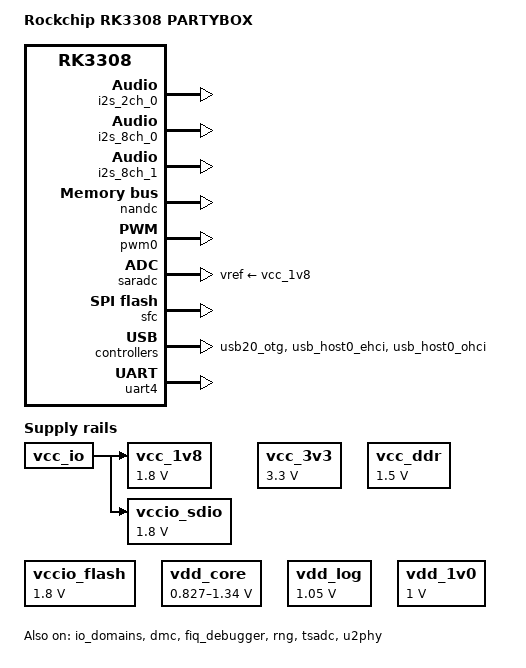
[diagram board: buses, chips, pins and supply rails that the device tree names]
// SPDX-License-Identifier: (GPL-2.0+ OR MIT)
/*
 * Copyright (c) 2024 Rockchip Electronics Co., Ltd
 */

#include <dt-bindings/input/input.h>
#include "rk3308.dtsi"

/ {
	model = "Rockchip RK3308 PARTYBOX";
	compatible = "rockchip,rk3308-partybox", "rockchip,rk3308";

	chosen {
		bootargs = "earlycon=uart8250,mmio32,0xff0c0000 console=ttyFIQ0 root=PARTUUID=614e0000-0000 rootfstype=squashfs rootwait isolcpus=2,3 nohz_full=2,3 snd_soc_core.prealloc_buffer_size_kbytes=64";
	};

	acodec_sound: acodec-sound {
		status = "disabled";
		compatible = "rockchip,multicodecs-card";
		rockchip,card-name = "rockchip,rk3308-acodec";
		//rockchip,codec-hp-det;
		rockchip,mclk-fs = <256>;
		rockchip,cpu = <&i2s_8ch_2>;
		rockchip,codec = <&acodec>;
		//rockchip,wait-card-locked = <2>;
	};

	amp_dummy_codec: amp-dummy-codec {
		status = "okay";
		compatible = "rockchip,dummy-codec";
		#sound-dai-cells = <0>;

		//enable it when MCLK connected to codec.
		/* clocks = <&cru SCLK_I2S0_8CH_TX_OUT>;
		 * clock-names = "mclk";
		 */
	};

	amp_sound: amp-sound {
		status = "okay";
		compatible = "rockchip,multicodecs-card";
		rockchip,card-name = "rockchip-amp";
		rockchip,format = "i2s";
		rockchip,mclk-fs = <256>;
		rockchip,cpu = <&i2s_8ch_0>;
		rockchip,codec = <&amp_dummy_codec>;
	};

	audio_sync0: audio-sync0 {
		status = "okay";
		compatible = "rockchip,audio-sync";
		rockchip,audio-ref = <&i2s_2ch_0 1>;
		rockchip,audio-tgt = <&i2s_8ch_0 0>;
	};

	audio_sync1: audio-sync1 {
		status = "disabled";
		compatible = "rockchip,audio-sync";
		rockchip,audio-ref = <&spdif_rx 1>;
		rockchip,audio-tgt = <&i2s_8ch_0 0>;
	};

	bluetooth_sound: bluetooth-sound {
		status = "okay";
		compatible = "rockchip,multicodecs-card";
		rockchip,card-name = "rockchip-bt";
		rockchip,mclk-fs = <256>;
		rockchip,cpu = <&i2s_2ch_0>;
		rockchip,codec = <&bt_dummy_codec>;
		rockchip,format = "i2s";
		rockchip,wait-card-locked = <0>;

		//for extern-bt, we recommend to set i2s to slave for tws.
		rockchip,frame-master = <&bt_dummy_codec>;
		rockchip,bitclock-master = <&bt_dummy_codec>;
	};

	bt_dummy_codec: bt-dummy-codec {
		status = "okay";
		compatible = "rockchip,dummy-codec";
		#sound-dai-cells = <0>;
	};

	mic_dummy_codec: mic-dummy-codec {
		status = "okay";
		compatible = "rockchip,dummy-codec";
		#sound-dai-cells = <0>;

		//enable it when MCLK connected to mic codec.
		clocks = <&cru SCLK_I2S1_8CH_TX_OUT>;
		clock-names = "mclk";
	};

	mic_sound: mic-sound {
		status = "okay";
		compatible = "rockchip,multicodecs-card";
		rockchip,card-name = "rockchip-mic";
		rockchip,mclk-fs = <256>;
		rockchip,format = "i2s";
		rockchip,wait-card-locked = <1>;

		rockchip,cpu = <&i2s_8ch_1>;
		rockchip,codec = <&mic_dummy_codec>;
	};

	spdiftx_dummy_codec: spdiftx-dummy-codec {
		status = "disabled";
		compatible = "rockchip,dummy-codec";
		#sound-dai-cells = <0>;
	};

	spdifrx_dummy_codec: spdif-rx-codec {
		status = "disabled";
		compatible = "rockchip,dummy-codec";
		#sound-dai-cells = <0>;
	};

	spdif_tx_sound: spdif-tx-sound {
		status = "disabled";
		compatible = "rockchip,multicodecs-card";
		rockchip,card-name = "rockchip,spdif-tx";
		rockchip,mclk-fs = <128>;
		rockchip,cpu = <&spdif_tx>;
		rockchip,codec = <&spdiftx_dummy_codec>;
	};

	spdif_rx_sound: spdif-rx-sound {
		status = "disabled";
		compatible = "rockchip,multicodecs-card";
		rockchip,card-name = "rockchip,spdif-rx";
		rockchip,mclk-fs = <128>;
		rockchip,cpu = <&spdif_rx>;
		rockchip,codec = <&spdifrx_dummy_codec>;
	};

	vcc_3v3: vcc_io: vcc-io {
		compatible = "regulator-fixed";
		regulator-name = "vcc_io";
		regulator-always-on;
		regulator-boot-on;
		regulator-min-microvolt = <3300000>;
		regulator-max-microvolt = <3300000>;
	};

	vcc_ddr: vcc-ddr {
		compatible = "regulator-fixed";
		regulator-name = "vcc_ddr";
		regulator-always-on;
		regulator-boot-on;
		regulator-min-microvolt = <1500000>;
		regulator-max-microvolt = <1500000>;
	};

	vccio_flash: vccio-flash {
		compatible = "regulator-fixed";
		regulator-name = "vccio_flash";
		regulator-always-on;
		regulator-boot-on;
		regulator-min-microvolt = <1800000>;
		regulator-max-microvolt = <1800000>;
	};

	vdd_core: vdd-core {
		compatible = "pwm-regulator";
		pwms = <&pwm0 0 5000 1>;
		regulator-name = "vdd_core";
		regulator-min-microvolt = <827000>;
		regulator-max-microvolt = <1340000>;
		regulator-init-microvolt = <1015000>;
		regulator-always-on;
		regulator-boot-on;
		regulator-settling-time-up-us = <250>;
		status = "okay";
	};

	vdd_log: vdd-log {
		compatible = "regulator-fixed";
		regulator-name = "vdd_log";
		regulator-always-on;
		regulator-boot-on;
		regulator-min-microvolt = <1050000>;
		regulator-max-microvolt = <1050000>;
	};

	vdd_1v0: vdd-1v0 {
		compatible = "regulator-fixed";
		regulator-name = "vdd_1v0";
		regulator-always-on;
		regulator-boot-on;
		regulator-min-microvolt = <1000000>;
		regulator-max-microvolt = <1000000>;
	};

	vcc_1v8: vcc-1v8 {
		compatible = "regulator-fixed";
		regulator-name = "vcc_1v8_codec";
		regulator-always-on;
		regulator-boot-on;
		regulator-min-microvolt = <1800000>;
		regulator-max-microvolt = <1800000>;
		vin-supply = <&vcc_io>;
	};

	vccio_sdio: vcc_1v8: vcc-1v8 {
		compatible = "regulator-fixed";
		regulator-name = "vcc_1v8";
		regulator-always-on;
		regulator-boot-on;
		regulator-min-microvolt = <1800000>;
		regulator-max-microvolt = <1800000>;
		vin-supply = <&vcc_io>;
	};

	/*vbus_host: vbus-host-regulator {
	 *	compatible = "regulator-fixed";
	 *	enable-active-high;
	 *	gpio = <&gpio0 RK_PC5 GPIO_ACTIVE_HIGH>;
	 *	pinctrl-names = "default";
	 *	pinctrl-0 = <&usb_drv>;
	 *	regulator-name = "vbus_host";
	 *};
	 */
};

&acodec {
	status = "disabled";
	#sound-dai-cells = <0>;

	rockchip,no-hp-det;
	rockchip,no-deep-low-power;
	//rockchip,boot-dac-out = "line";
	//spk-ctl-gpios = <&gpio4 RK_PA4 GPIO_ACTIVE_HIGH>;
	//rockchip,en-always-grps = <1 2 3>;
	//rockchip,adc-grps-route = <1 2 3 0>;
};

&i2s_2ch_0 {
	status = "okay";
	#sound-dai-cells = <0>;
	#sound-stream-cells = <1>;
};

&i2s_8ch_0 {
	#sound-stream-cells = <1>;
	#sound-dai-cells = <0>;
	rockchip,clk-trcm = <1>;
	//rockchip,i2s-tx-route = <1 0 2 3>;
	pinctrl-names = "default";
	pinctrl-0 = <&i2s_8ch_0_sclktx
		&i2s_8ch_0_lrcktx
		&i2s_8ch_0_sdi0
		&i2s_8ch_0_sdi1
		&i2s_8ch_0_sdi2
		&i2s_8ch_0_sdo0
		&i2s_8ch_0_sdo1
		&i2s_8ch_0_sdo2
		&i2s_8ch_0_mclk>;
	status = "okay";
};

&i2s_8ch_1 {
	status = "okay";
	#sound-dai-cells = <0>;
	rockchip,clk-trcm = <1>;
	pinctrl-names = "default";
	pinctrl-0 = <&i2s_8ch_1_m1_mclk
		&i2s_8ch_1_m1_sclktx
		&i2s_8ch_1_m1_lrcktx
		&i2s_8ch_1_m1_sdi0>;
};

&i2s_8ch_2 {
	status = "disabled";
	#sound-dai-cells = <0>;
};

&io_domains {
	status = "okay";

	vccio0-supply = <&vcc_io>;
	vccio1-supply = <&vcc_io>;
	vccio2-supply = <&vcc_io>;
	vccio3-supply = <&vcc_io>;
	vccio4-supply = <&vcc_io>;
	vccio5-supply = <&vcc_io>;
};

&cpu0 {
	cpu-supply = <&vdd_core>;
};

&cpu0_opp_table {
	opp-408000000 {
		status = "disabled";
	};
	opp-600000000 {
		status = "disabled";
	};
	opp-1200000000 {
		status = "okay";
	};
	opp-1296000000 {
		status = "okay";
	};
};

&rk3308bs_cpu0_opp_table {
	opp-408000000 {
		status = "disabled";
	};
	opp-600000000 {
		status = "disabled";
	};
	opp-1200000000 {
		status = "okay";
	};
	opp-1296000000 {
		status = "okay";
	};
};

&dmac0 {
	iram = <&vad_sram>;
};

&dmac1 {
	iram = <&vad_sram>;
};

&vad_sram {
	pool;
};

&dmc {
	center-supply = <&vdd_log>;
	status = "okay";
};

&fiq_debugger {
	status = "okay";
};

&nandc {
	status = "okay";
};

&pwm0 {
	status = "okay";
	pinctrl-names = "active";
	pinctrl-0 = <&pwm0_pin_pull_down>;
};

&rockchip_suspend {
	rockchip,pwm-regulator-config = <
		(0
		| RKPM_PWM_REGULATOR
		)
	>;

	status = "okay";
};

&rng {
	status = "okay";
};

&saradc {
	status = "okay";
	vref-supply = <&vcc_1v8>;
};

&sfc {
	status = "okay";
};

&soc_thermal {
	trips {
		threshold: trip-point@0 {
			temperature = <80000>;
			hysteresis = <2000>;
			type = "passive";
		};
		target: trip-point@1 {
			temperature = <95000>;
			hysteresis = <2000>;
			type = "passive";
		};
		soc_crit: soc-crit {
			temperature = <115000>;
			hysteresis = <2000>;
			type = "critical";
		};
	};
};

&spdif_tx {
	#sound-dai-cells = <0>;
};

&spdif_rx {
	status = "disabled";
	#sound-stream-cells = <1>;
	#sound-dai-cells = <0>;
	rockchip,always-on;
	assigned-clocks = <&cru SCLK_SPDIF_RX>;
	assigned-clock-rates = <393216000>;
};

&tsadc {
	rockchip,hw-tshut-mode = <0>; /* tshut mode 0:CRU 1:GPIO */
	rockchip,hw-tshut-polarity = <1>; /* tshut polarity 0:LOW 1:HIGH */
	status = "okay";
};

&u2phy {
	status = "okay";
	u2phy_host: host-port {
		//phy-supply = <&vbus_host>;
		status = "okay";
	};

	u2phy_otg: otg-port {
		//vbus-supply = <&vbus_host>;
		status = "okay";
	};
};

&usb20_otg {
	status = "okay";
};

&usb_host0_ehci {
	status = "okay";
};

&usb_host0_ohci{
	status = "okay";
};

&uart4 {
	pinctrl-names = "default";
	pinctrl-0 = <&uart4_xfer>;
	dma-names = "!tx", "!rx";
	status = "okay";
};

&pinctrl {
	usb {
		usb_drv: usb-drv {
			rockchip,pins = <0 RK_PC5 RK_FUNC_GPIO &pcfg_pull_none>;
		};
	};
};
